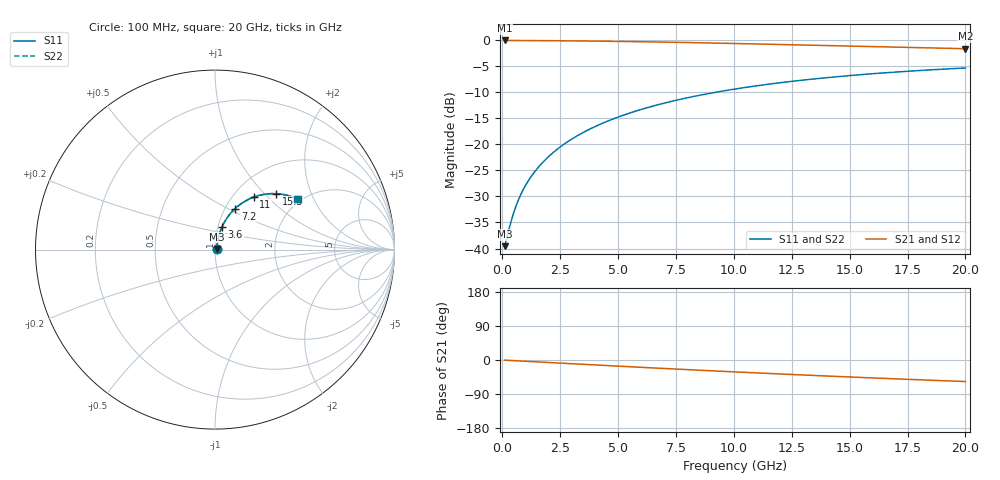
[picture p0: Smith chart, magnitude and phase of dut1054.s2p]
! Touchstone file exported from HFSS 2026.1.0
!  File:  C:/ffzhzh/LocalFiles/Ansys_Project_Files/temp_train_BSMRDL_1054_1783173983_55132.aedt
!  Generated:  10:07:49 PM Jul  4, 2026
!  Design:  BSMRDL
!  Project:  temp_train_BSMRDL_1054_1783173983_55132
! Variables:
!  h_bsmrdl = 2.2um
!  h_ox = 20um
!  h_rdl = 5um
!  h_sub = 80um
!  h_tmrdl = 5um
!  h_tsv = 80um
!  h_via = 3um
!  l_bsmrdl = 851.86um
!  l_sub = 1251.86um
!  l_tmrdl = 200um
!  m_sub = 200um
!  pitch = 38.91um
!  r_tsv = 6um
!  s_tmrdl = 10um
!  w_bsmrdl = 14.06um
!  w_sub = 500um
!  w_tmrdl = 12um
!  x_tsv_center1 = 206um
!  x_tsv_center2 = 1071.92um
!  x_tsv_center3 = 1283.92um
!  x_tsv_center4 = 2149.84um
!  x_tsv_center5 = 2361.84um
!  x_tsv_center6 = 3227.76um
# GHz S MA R 50.000000
! Terminal data exported
! Port[1] = BSM_RDL1_1_T1
! Port[2] = BSM_RDL1_1_T2
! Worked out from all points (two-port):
!   200 points, 100 MHz to 20 GHz, reference 50 ohm
!   highest |S21| = -0.09 dB at 100 MHz (marker M1); lowest = -1.7 dB at 20 GHz (marker M2)
!   |S21| within 3 dB of the highest: start of sweep to end of sweep
!   lowest |S11| = -39.5 dB at 100 MHz (marker M3), VSWR 1.02, Z = 51 + j0.405 ohm
!   |S11| at or under -10 dB: start of sweep to 9.243 GHz
!   |S22| runs from -39.5 to -5.4 dB; largest |S21 - S12| = 2.3e-14
!   S11 on the Smith chart (normalised r, x): 100 MHz: 1.02, +0.01; 3.6 GHz: 1.05, +0.27; 7.2 GHz: 1.11, +0.54; 11 GHz: 1.24, +0.84; 15.3 GHz: 1.48, +1.17; 20 GHz: 1.91, +1.52
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0.1  0.01054 22.1  0.9903 -0.3  0.9903 -0.3  0.01054 22.1
! Gamma 0 0 0 0
! Port Impedance 50 0 50 0
0.4  0.01889 56.1  0.9897 -1.4  0.9897 -1.4  0.01889 56.1
0.6  0.02588 63.9  0.9892 -2.0  0.9892 -2.0  0.02588 63.9
0.7  0.02944 66.3  0.9889 -2.4  0.9889 -2.4  0.02944 66.3
0.9  0.03661 69.4  0.9883 -3.0  0.9883 -3.0  0.03661 69.4
1.2  0.04739 72.0  0.9875 -4.0  0.9875 -4.0  0.04739 72.0
1.7  0.0654 73.9  0.9861 -5.6  0.9861 -5.6  0.06541 73.9
2.2  0.08344 74.4  0.9845 -7.3  0.9845 -7.3  0.08344 74.4
2.8  0.105 74.0  0.9822 -9.2  0.9822 -9.2  0.105 74.0
3.5  0.13 73.0  0.979 -11.5  0.979 -11.5  0.13 73.0
3.6  0.1336 72.8  0.9785 -11.8  0.9785 -11.8  0.1336 72.8
4.3  0.1582 71.3  0.9746 -14.0  0.9746 -14.0  0.1582 71.3
5  0.1823 69.7  0.9702 -16.2  0.9702 -16.2  0.1823 69.6
6.8  0.242 65.0  0.9567 -21.8  0.9567 -21.8  0.242 64.9
7.2  0.2547 63.9  0.9533 -23.1  0.9533 -23.1  0.2547 63.8
8.6  0.2975 60.0  0.9405 -27.3  0.9405 -27.3  0.2975 60.0
10.1  0.3402 55.9  0.9256 -31.6  0.9256 -31.6  0.3402 55.9
11  0.3642 53.5  0.9163 -34.2  0.9163 -34.2  0.3642 53.4
13.4  0.4221 47.2  0.8908 -40.7  0.8908 -40.7  0.4221 47.1
15.3  0.4618 42.5  0.8707 -45.6  0.8707 -45.6  0.4619 42.4
16.7  0.4879 39.1  0.8564 -49.1  0.8564 -49.1  0.4879 39.0
20  0.5391 31.5  0.8253 -56.8  0.8253 -56.8  0.5391 31.4
